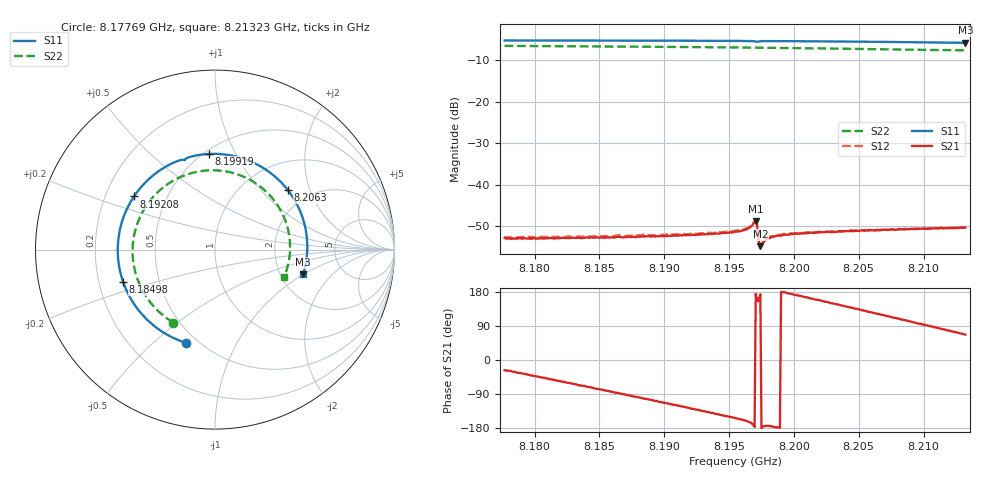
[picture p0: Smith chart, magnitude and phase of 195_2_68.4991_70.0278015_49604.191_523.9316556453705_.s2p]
#  HZ  S  RI  R  50.00
! Rohde & Schwarz Vector Network Analyzer
! Rohde-Schwarz,ZNB20-2Port,1311601062101988,3.16
! Created: UTC 3/20/2024, 4:57:17 PM
! freq[Hz]  re:S11  im:S11  re:S21  im:S21  re:S12  im:S12  re:S22  im:S22
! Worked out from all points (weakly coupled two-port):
!   401 points, 8.17769 GHz to 8.21323 GHz, reference 50 ohm
!   highest |S21| = -48.88 dB at 8.19706 GHz (marker M1); lowest = -54.8 dB at 8.19741 GHz (marker M2)
!   lowest |S11| = -5.9 dB at 8.21323 GHz (marker M3), VSWR 3.08, Z = 133 - j49.7 ohm
!   |S11| at or under -10 dB: nowhere
!   |S22| runs from -7.7 to -6.6 dB; largest |S21 - S12| = 0.00018
!   S11 on the Smith chart (normalised r, x): 8.17769 GHz: 0.43, -0.64; 8.18498 GHz: 0.30, -0.16; 8.19208 GHz: 0.32, +0.27; 8.19919 GHz: 0.53, +0.79; 8.2063 GHz: 1.57, +1.43; 8.21323 GHz: 2.65, -0.99
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8.17769e9  -0.163 -0.5192  0.00203 -0.00103  0.00209 -0.00102  -0.2326 -0.4066
8.180444e9  -0.3307 -0.4319  0.00159 -0.0016  0.00163 -0.00167  -0.35 -0.307
8.183643e9  -0.4743 -0.2647  0.000868 -0.00209  0.000872 -0.0022  -0.4364 -0.152
8.184975e9  -0.512 -0.18  0.00051 -0.00223  0.000486 -0.00231  -0.4539 -0.0801
8.187285e9  -0.5415 -0.0222  -0.000152 -0.00236  -0.000176 -0.00238  -0.456 0.0478
8.189595e9  -0.5233 0.1378  -0.000834 -0.00223  -0.000912 -0.00232  -0.4226 0.171
8.192082e9  -0.4515 0.2959  -0.00156 -0.00194  -0.00163 -0.00198  -0.3498 0.2878
8.195458e9  -0.2805 0.4586  -0.00242 -0.00122  -0.00249 -0.00115  -0.2005 0.4007
8.196347e9  -0.2238 0.4874  -0.00272 -0.00095  -0.00284 -0.000883  -0.1545 0.4193
8.196969e9  -0.179 0.5004  -0.00353 -0.000197  -0.00355 -7.73e-05  -0.1207 0.429
8.197057e9  -0.1725 0.4994  -0.00358 0.00034  -0.00366 0.0005  -0.1159 0.4301
8.197413e9  -0.1598 0.5079  -0.0018 0.00021  -0.00185 0.000317  -0.0966 0.4342
8.197502e9  -0.1535 0.5111  -0.00188 -3.83e-06  -0.00192 7.14e-05  -0.0916 0.4355
8.198123e9  -0.1088 0.5239  -0.00226 -0.000233  -0.0023 -0.000107  -0.0569 0.4401
8.19919e9  -0.0333 0.5331  -0.00247 4.85e-05  -0.00255 0.000168  0.00347 0.4417
8.201411e9  0.1225 0.5172  -0.00252 0.000812  -0.00248 0.000943  0.1275 0.4188
8.203809e9  0.2774 0.4494  -0.0022 0.00166  -0.00215 0.00173  0.2487 0.3541
8.206297e9  0.4068 0.3305  -0.00153 0.00236  -0.00145 0.00239  0.3476 0.2488
8.207363e9  0.4485 0.2672  -0.00119 0.00258  -0.00114 0.00263  0.3784 0.1936
8.210294e9  0.5117 0.0692  -6.41e-05 0.00292  5.53e-06 0.00295  0.4183 0.0237
8.211716e9  0.512 -0.0324  0.000558 0.00293  0.000627 0.00293  0.4117 -0.0624
8.213226e9  0.4904 -0.1386  0.00118 0.00279  0.00125 0.0028  0.3852 -0.1519
